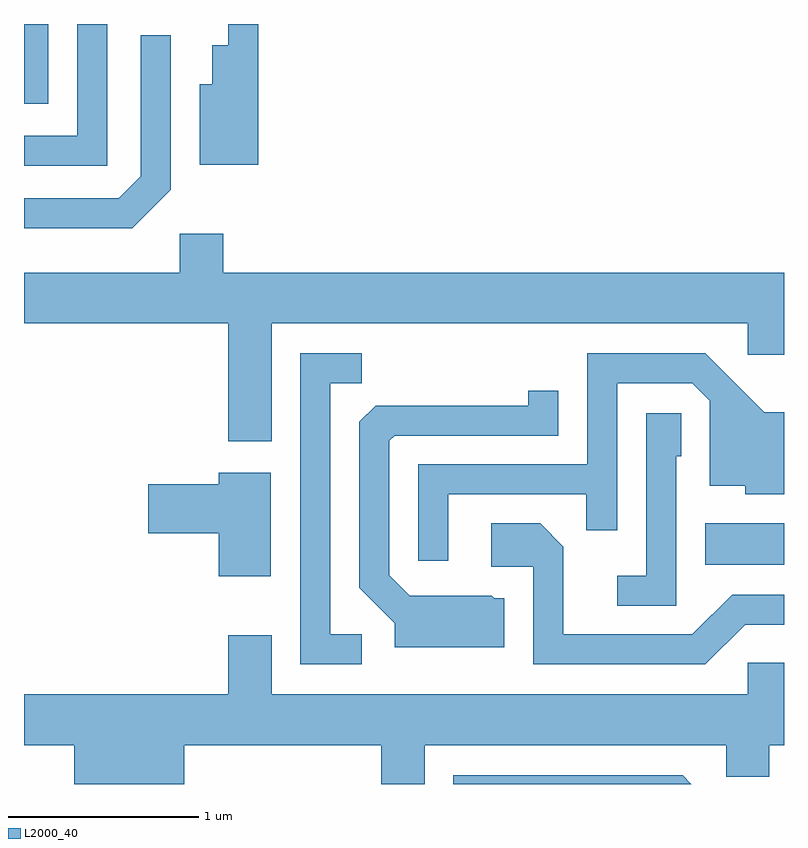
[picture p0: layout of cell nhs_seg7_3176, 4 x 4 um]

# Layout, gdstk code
import gdstk
lib = gdstk.Library(unit=1e-6, precision=1e-09)
def R(c, l, rs):  # rectangles x0, y0, x1, y1
    for r in rs: c.add(gdstk.rectangle(r[:2], r[2:], *l))
def P(c, l, *ps):  # polygons
    for p in ps: c.add(gdstk.Polygon(p, *l))
L2000_40 = (2000, 40)

nhs_seg7_3176 = lib.new_cell('nhs_seg7_3176')
R(nhs_seg7_3176, L2000_40, [(285.196,1797.406,285.611,1797.624), (281.611,1799.831,281.739,1800.252)])
P(nhs_seg7_3176, L2000_40, [(282.844,1800.252),(282.686,1800.252),(282.686,1800.139),(282.601,1800.139),(282.601,1799.934),(282.536,1799.934),(282.536,1799.511),(282.844,1799.511)],
  [(282.049,1800.252),(281.891,1800.252),(281.891,1799.664),(281.611,1799.664),(281.611,1799.506),(282.049,1799.506)],
  [(282.384,1799.379),(282.384,1800.193),(282.226,1800.193),(282.226,1799.452),(282.109,1799.334),(281.611,1799.334),(281.611,1799.176),(282.182,1799.176)],
  [(282.914,1798.676),(285.421,1798.676),(285.421,1798.511),(285.611,1798.511),(285.611,1798.944),(282.659,1798.944),(282.659,1799.149),(282.431,1799.149),(282.431,1798.944),(281.611,1798.944),(281.611,1798.676),(282.686,1798.676),(282.686,1798.056),(282.914,1798.056)],
  [(283.388,1797.039),(283.224,1797.039),(283.224,1798.361),(283.388,1798.361),(283.388,1798.519),(283.066,1798.519),(283.066,1796.881),(283.388,1796.881)],
  [(283.844,1797.776),(284.571,1797.776),(284.571,1797.588),(284.734,1797.588),(284.734,1798.361),(285.129,1798.361),(285.221,1798.269),(285.221,1797.821),(285.406,1797.821),(285.406,1797.776),(285.611,1797.776),(285.611,1798.209),(285.507,1798.209),(285.197,1798.519),(284.576,1798.519),(284.576,1797.934),(283.686,1797.934),(283.686,1797.428),(283.844,1797.428)],
  [(284.139,1797.229),(284.087,1797.229),(284.072,1797.244),(283.642,1797.244),(283.534,1797.352),(283.534,1798.059),(283.562,1798.086),(284.424,1798.086),(284.424,1798.323),(284.266,1798.323),(284.266,1798.244),(283.462,1798.244),(283.376,1798.159),(283.376,1797.284),(283.561,1797.099),(283.561,1796.971),(284.139,1796.971)],
  [(285.044,1797.976),(285.069,1797.976),(285.069,1798.204),(284.886,1798.204),(284.886,1797.349),(284.733,1797.349),(284.733,1797.191),(285.044,1797.191)],
  [(282.909,1797.889),(282.636,1797.889),(282.636,1797.829),(282.266,1797.829),(282.266,1797.571),(282.636,1797.571),(282.636,1797.346),(282.909,1797.346)],
  [(285.407,1797.091),(285.611,1797.091),(285.611,1797.249),(285.339,1797.249),(285.129,1797.039),(284.449,1797.039),(284.449,1797.502),(284.327,1797.624),(284.071,1797.624),(284.071,1797.396),(284.291,1797.396),(284.291,1796.881),(285.197,1796.881)],
  [(282.454,1796.456),(283.491,1796.456),(283.491,1796.252),(283.719,1796.252),(283.719,1796.456),(285.306,1796.456),(285.306,1796.291),(285.534,1796.291),(285.534,1796.456),(285.611,1796.456),(285.611,1796.889),(285.421,1796.889),(285.421,1796.724),(282.914,1796.724),(282.914,1797.034),(282.686,1797.034),(282.686,1796.724),(281.611,1796.724),(281.611,1796.456),(281.876,1796.456),(281.876,1796.252),(282.454,1796.252)],
  [(285.077,1796.299),(283.871,1796.299),(283.871,1796.252),(285.124,1796.252)])

lib.write_gds('nhs_seg7_3176.gds')
